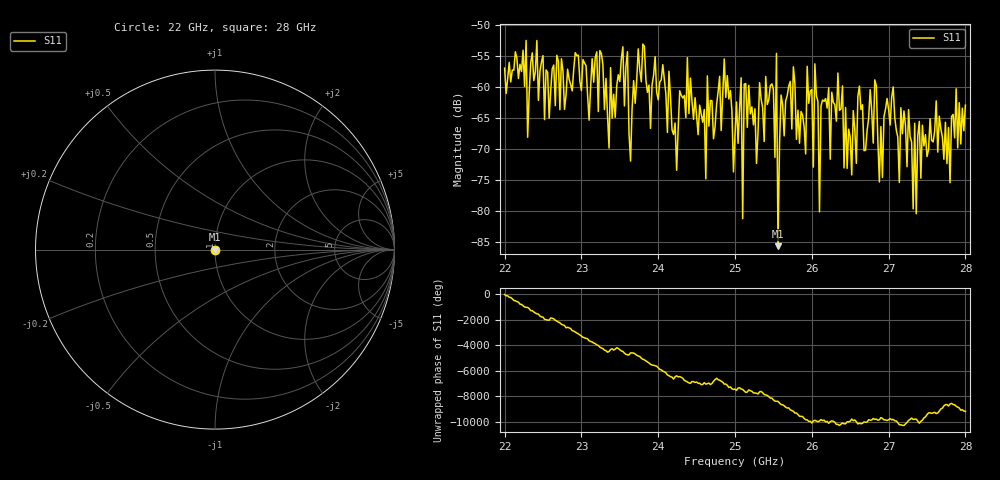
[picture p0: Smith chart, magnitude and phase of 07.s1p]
#  HZ  S  RI  R  50.00
! Rohde & Schwarz ZVA40 4Ports - Version 3.90 - 1145.1110k42 SN: 100403
! Date: 2023-10-04 09:36:29
! Measurement: S12
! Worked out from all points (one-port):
!   301 points, 22 GHz to 28 GHz, reference 50 ohm
!   lowest |S11| = -85.7 dB at 25.56 GHz (marker M1), VSWR 1.00, Z = 50 - j0.00433 ohm
!   |S11| at or under -10 dB: start of sweep to end of sweep
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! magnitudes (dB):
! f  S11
! 22 GHz  -57.0
! 22.76 GHz  -57.5
! 23.5 GHz  -59.2
! 24.26 GHz  -66.7
! 24.38 GHz  -55.3
! 24.62 GHz  -74.8
! 24.64 GHz  -58.3
! 24.86 GHz  -55.5
! 25 GHz  -67.8
! 25.08 GHz  -58.6
! 25.1 GHz  -81.3
! 25.12 GHz  -59.6
! 25.28 GHz  -72.4
! 25.4 GHz  -58.4
! 25.52 GHz  -71.4
! 25.54 GHz  -54.6
! 25.56 GHz  -85.7
! 25.6 GHz  -61.3
! 25.76 GHz  -56.8
! 26.02 GHz  -72.9
! 26.04 GHz  -56.3
! 26.1 GHz  -80.2
! 26.14 GHz  -62.1
! 26.5 GHz  -68.1
! 27.26 GHz  -63.7
! 27.36 GHz  -80.5
! 27.4 GHz  -65.6
! 28 GHz  -63.0
